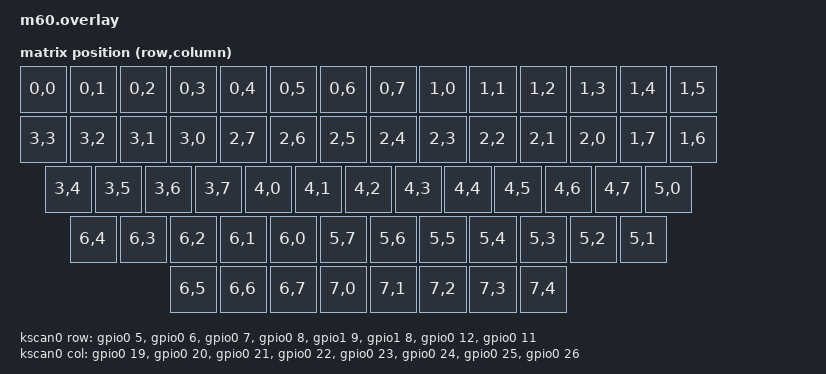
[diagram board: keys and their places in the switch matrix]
/*
 * Copyright (c) 2020 The ZMK Contributors
 *
 * SPDX-License-Identifier: MIT
 */

#include <dt-bindings/zmk/matrix_transform.h>

/ {
	chosen {
		zmk,kscan = &kscan0;
		zmk,matrix_transform = &default_transform;
	};

	kscan0: kscan {
		compatible = "zmk,kscan-gpio-matrix";
		label = "KSCAN";

		diode-direction = "col2row";
		row-gpios
			= <&gpio0 5 (GPIO_ACTIVE_HIGH | GPIO_PULL_DOWN)>
			, <&gpio0 6 (GPIO_ACTIVE_HIGH | GPIO_PULL_DOWN)>
			, <&gpio0 7 (GPIO_ACTIVE_HIGH | GPIO_PULL_DOWN)>
			, <&gpio0 8 (GPIO_ACTIVE_HIGH | GPIO_PULL_DOWN)>
			, <&gpio1 9 (GPIO_ACTIVE_HIGH | GPIO_PULL_DOWN)>
			, <&gpio1 8 (GPIO_ACTIVE_HIGH | GPIO_PULL_DOWN)>
			, <&gpio0 12 (GPIO_ACTIVE_HIGH | GPIO_PULL_DOWN)>
			, <&gpio0 11 (GPIO_ACTIVE_HIGH | GPIO_PULL_DOWN)>
			;
		col-gpios
			= <&gpio0 19 GPIO_ACTIVE_HIGH>
			, <&gpio0 20 GPIO_ACTIVE_HIGH>
			, <&gpio0 21 GPIO_ACTIVE_HIGH>
			, <&gpio0 22 GPIO_ACTIVE_HIGH>
			, <&gpio0 23 GPIO_ACTIVE_HIGH>
			, <&gpio0 24 GPIO_ACTIVE_HIGH>
			, <&gpio0 25 GPIO_ACTIVE_HIGH>
			, <&gpio0 26 GPIO_ACTIVE_HIGH>
			;
	};

	default_transform: keymap_transform_0 {
		compatible = "zmk,matrix-transform";
		columns = <8>;
		rows = <8>;
// | MX1  | MX2  | MX3  | MX4  | MX5  | MX6  | MX7  | MX8  | MX9  | MX10 | MX11 | MX12 | MX13 |    MX14     |
// |   MX15   | MX16 | MX17 | MX18 | MX19 | MX20 | MX21 | MX22 | MX23 | MX24 | MX25 | MX26 | MX27 |  MX28   |
// |    MX29    | MX30 | MX31 | MX32 | MX33 | MX34 | MX35 | MX36 | MX37 | MX38 | MX39 | MX40 |     MX41     |
// |     MX42      | MX43 | MX44 | MX45 | MX46 | MX47 | MX48 | MX49 | MX50 | MX51 | MX52 |       MX53       |
// |  MX54  |  MX55  |  MX56  |                  MX57                   |  MX58  |  MX59  |  MX60  |  MX61  |
        map = <
RC(0,0)  RC(0,1) RC(0,2) RC(0,3) RC(0,4) RC(0,5) RC(0,6) RC(0,7) RC(1,0) RC(1,1) RC(1,2) RC(1,3) RC(1,4)     RC(1,5)
RC(3,3)    RC(3,2) RC(3,1) RC(3,0) RC(2,7) RC(2,6) RC(2,5) RC(2,4) RC(2,3) RC(2,2) RC(2,1) RC(2,0) RC(1,7)   RC(1,6)
RC(3,4)     RC(3,5) RC(3,6) RC(3,7) RC(4,0) RC(4,1) RC(4,2) RC(4,3) RC(4,4) RC(4,5) RC(4,6) RC(4,7)          RC(5,0)
RC(6,4)       RC(6,3) RC(6,2) RC(6,1) RC(6,0) RC(5,7) RC(5,6) RC(5,5) RC(5,4) RC(5,3) RC(5,2)                RC(5,1)
RC(6,5)    RC(6,6)   RC(6,7)                     RC(7,0)                    RC(7,1)    RC(7,2)    RC(7,3)    RC(7,4)
        >;
	};
};

